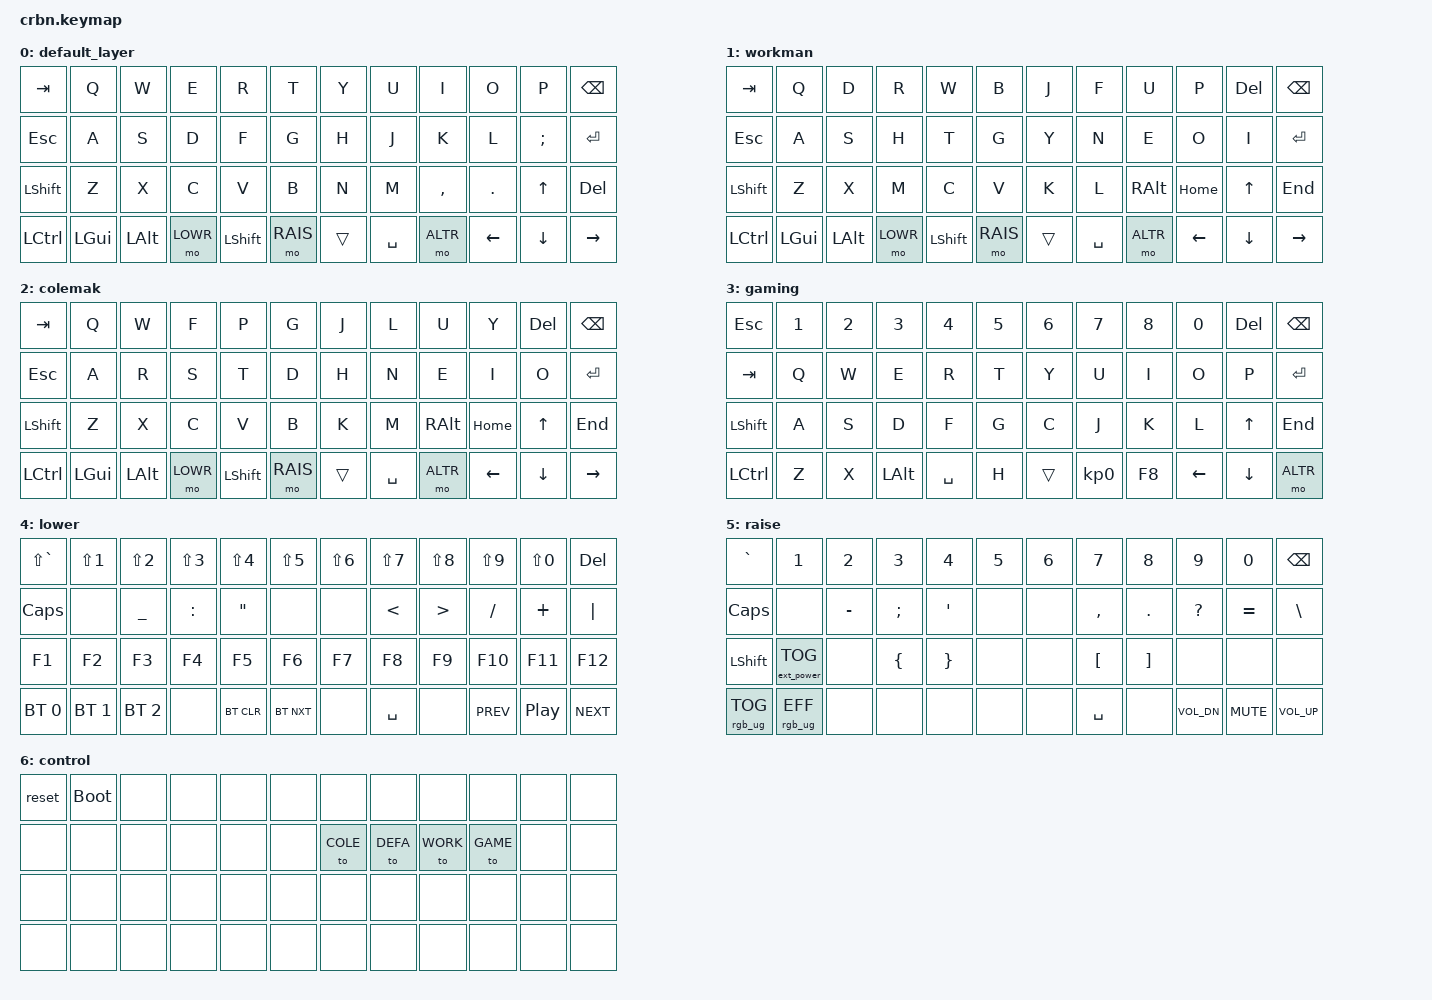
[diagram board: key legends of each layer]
/*
 * Copyright (c) 2020 The ZMK Contributors
 *
 * SPDX-License-Identifier: MIT
 */

#include <behaviors.dtsi>
#include <dt-bindings/zmk/keys.h>
#include <dt-bindings/zmk/bt.h>
#include <dt-bindings/zmk/rgb.h>
#include <dt-bindings/zmk/ext_power.h>

#define DEFA 0
#define WORK 1
#define COLE 2
#define GAME 3
#define LOWR 4
#define RAIS 5
#define ALTR 6

&kscan0 {
    debounce-period = <20>;
};

/ {
	keymap {
		compatible = "zmk,keymap";

		default_layer {
				// -----------------------------------------------------------------------------------------
				// |  TAB  |  Q   |  W   |  E   |  R   |  T   |   Y   |  U    |  I   |  O   |   P   | BSPC  |
				// |  ESC  |  A   |  S   |  D   |  F   |  G   |   H   |  J    |  K   |  L   |   ;   |  RET  |
				// | SHIFT |  Z   |  X   |  C   |  V   |  B   |   N   |  M    |  ,   |  .   |   /   |  DEL  |
				// | LCTL  | LGUI | LALT | LOWR | SHIFT| RAIS |     SPACE     | LARW | DARW | UARW  |  RARW |
			bindings = <
				&kp TAB   &kp Q    &kp W    &kp E    &kp R      &kp T    &kp Y   &kp U      &kp I      &kp O     &kp P     &kp BSPC
				&kp ESC   &kp A    &kp S    &kp D    &kp F      &kp G    &kp H   &kp J      &kp K      &kp L     &kp SEMI  &kp RET
				&kp LSHFT &kp Z    &kp X    &kp C    &kp V      &kp B    &kp N   &kp M      &kp COMMA  &kp DOT   &kp UP    &kp DEL
				&kp LCTRL &kp LGUI &kp LALT &mo LOWR &kp LSHFT  &mo RAIS &trans  &kp SPACE  &mo ALTR   &kp LEFT  &kp DOWN  &kp RIGHT
			>;

		};
		
		workman {
				// -----------------------------------------------------------------------------------------
				// |  TAB  |  Q   |  D   |  R   |  W   |  B   |   J   |  F    |  U   |  P   |  DEL  | BSPC  |
				// |  ESC  |  A   |  S   |  H   |  T   |  G   |   Y   |  N    |  E   |  O   |   I   |  RET  |
				// | SHIFT |  Z   |  X   |  M   |  C   |  V   |   K   |  L    | RALT | HOME |   UP  |  END  |
				// | LCTL  | LGUI | LALT | LOWR | SHIFT| RAIS |     SPACE     | ALTR | LEFT | DOWN  | RIGHT |
			bindings = <
				&kp TAB   &kp Q    &kp D    &kp R    &kp W      &kp B    &kp J   &kp F      &kp U      &kp P     &kp DEL   &kp BSPC
				&kp ESC   &kp A    &kp S    &kp H    &kp T      &kp G    &kp Y   &kp N      &kp E      &kp O     &kp I     &kp RET
				&kp LSHFT &kp Z    &kp X    &kp M    &kp C      &kp V    &kp K   &kp L      &kp RALT   &kp HOME  &kp UP    &kp END
				&kp LCTRL &kp LGUI &kp LALT &mo LOWR &kp LSHFT  &mo RAIS &trans  &kp SPACE  &mo ALTR   &kp LEFT  &kp DOWN  &kp RIGHT
			>;

		};

		
		colemak {
				// -----------------------------------------------------------------------------------------
				// |  TAB  |  Q   |  W   |  F   |  P   |  G   |   J   |  L    |  U   |  Y   |  DEL  | BSPC  |
				// |  ESC  |  A   |  R   |  S   |  T   |  D   |   H   |  N    |  E   |  I   |   O   |  RET  |
				// | SHIFT |  Z   |  X   |  C   |  V   |  B   |   K   |  M    | RALT | HOME |   UP  |  END  |
				// | LCTL  | LGUI | LALT | LOWR | SHIFT| RAIS |     SPACE     | ALTR | LEFT | DOWN  | RIGHT |
			bindings = <
				&kp TAB   &kp Q    &kp W    &kp F    &kp P      &kp G    &kp J   &kp L      &kp U      &kp Y     &kp DEL   &kp BSPC
				&kp ESC   &kp A    &kp R    &kp S    &kp T      &kp D    &kp H   &kp N      &kp E      &kp I     &kp O     &kp RET
				&kp LSHFT &kp Z    &kp X    &kp C    &kp V      &kp B    &kp K   &kp M      &kp RALT   &kp HOME  &kp UP    &kp END
				&kp LCTRL &kp LGUI &kp LALT &mo LOWR &kp LSHFT  &mo RAIS &trans  &kp SPACE  &mo ALTR   &kp LEFT  &kp DOWN  &kp RIGHT
			>;

		};
		
		gaming {
				// -----------------------------------------------------------------------------------------
				// |  ESC  |  1   |  2   |  3   |  4   |  5   |   6   |  7    |  8   |  9   |  DEL  | BSPC  |
				// |  TAB  |  Q   |  W   |  E   |  R   |  T   |   Y   |  U    |  I   |  O   |   P   | BSPC  |
				// |  SHIFT|  A   |  S   |  D   |  F   |  G   |   C   |  J    |  K   |  L   |   ;   |  RET  |
				// |  CTRL |  Z   |  X   | LALT | SPACE|  H   |     KP 0      |  F8  | LEFT | DOWN  | ALTR  |
				
			bindings = <
				&kp ESC   &kp N1   &kp N2 &kp N3   &kp N4     &kp N5 &kp N6 &kp N7    &kp N8 &kp N0    &kp DEL   &kp BSPC
				&kp TAB   &kp Q    &kp W  &kp E    &kp R      &kp T  &kp Y  &kp U     &kp I  &kp O     &kp P     &kp RET
				&kp LSHFT &kp A    &kp S  &kp D    &kp F      &kp G  &kp C  &kp J     &kp K  &kp L     &kp UP    &kp END
				&kp LCTRL &kp Z    &kp X  &kp LALT &kp SPACE  &kp H  &trans &kp KP_N0 &kp F8 &kp LEFT  &kp DOWN  &mo ALTR
			>;

		};

		lower {
				// -----------------------------------------------------------------------------------------
				// |   ~   |  !   |  @   |  #   |  $   |  %   |   ^  |  &   |  *   |  (   |   )   |  DEL  |
				// |  CAPS |      |  _   |  :   |  "   |      |      |  <   |  >   |  /   |   +   |   |   |
				// |   F1  |  F2  |  F3  |  F4  |  F5  |  F6  |  F7  |  F8  |  F9  |  F10 |  F11  |  F12  |
				// |   BT  |  BT  |  BT  |      |  BT  |  BT  |    SPACE    |      | Prev | Pause |  Next |
				
			bindings = <
				&kp LS(GRAVE) &kp LS(N1)   &kp LS(N2)   &kp LS(N3) &kp LS(N4) &kp LS(N5) &kp LS(N6) &kp LS(N7) &kp LS(N8) &kp LS(N9) &kp LS(N0) &kp DEL
				&kp CAPS      &none        &kp UNDER    &kp COLON  &kp DQT    &none      &none      &kp LT     &kp GT     &kp FSLH   &kp PLUS   &kp PIPE
				&kp F1        &kp F2       &kp F3       &kp F4     &kp F5     &kp F6     &kp F7     &kp F8     &kp F9     &kp F10    &kp F11    &kp F12
				&bt BT_SEL 0  &bt BT_SEL 1 &bt BT_SEL 2 &none      &bt BT_CLR &bt BT_NXT &none      &kp SPACE  &none      &kp C_PREV &kp C_PP   &kp C_NEXT
			>;

		};

		raise {
				// -----------------------------------------------------------------------------------------
				// |  `    |  1   |  2   |  3   |  4   |  5   |   6   |  7    |  8   |  9   |   0   | BSPC  |
				// |  CAPS |      |  -   |  ;   |  '   |      |       |  ,    |  .   |  ?   |   =   |   \   |
				// | SHIFT |      |      |  {   |  }   |      |       |  [    |  ]   |      |       |       |
				// | RGB   |      |      |      |      |      |     SPACE     |      | VolDn| Mute  | VolUp |
				
			bindings = <
				&kp GRAVE       &kp N1            &kp N2     &kp N3   &kp N4   &kp N5 &kp N6 &kp N7    &kp N8   &kp N9       &kp N0     &kp BSPC
				&kp CAPS        &none             &kp MINUS  &kp SEMI &kp SQT  &none  &none  &kp COMMA &kp DOT  &kp QMARK    &kp EQUAL  &kp BSLH
				&kp LSHFT       &ext_power EP_TOG &none      &kp LBRC &kp RBRC &none  &none  &kp LBKT  &kp RBKT &none        &none      &none
				&rgb_ug RGB_TOG &rgb_ug RGB_EFF   &none      &none    &none    &none  &none  &kp SPACE &none    &kp C_VOL_DN &kp C_MUTE &kp C_VOL_UP
			>;
		};
		
		control {
			bindings = <
				&reset &bootloader &none &none &none &none &none    &none     &none     &none    &none &none
				&none  &none       &none &none &none &none &to COLE &to DEFA  &to WORK  &to GAME &none &none
				&none  &none       &none &none &none &none &none    &none     &none     &none    &none &none
				&none  &none       &none &none &none &none &none    &none     &none     &none    &none &none
			>;
		};
		
		
	};
};
